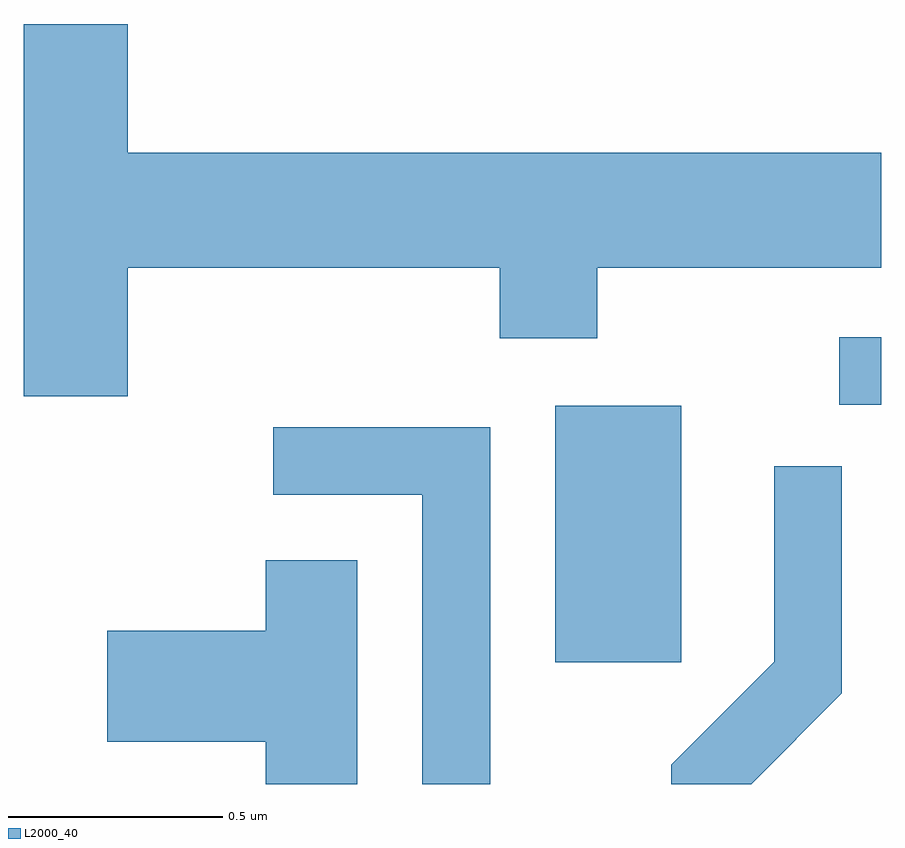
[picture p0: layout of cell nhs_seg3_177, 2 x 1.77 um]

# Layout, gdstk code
import gdstk
lib = gdstk.Library(unit=1e-6, precision=1e-09)
def R(c, l, rs):  # rectangles x0, y0, x1, y1
    for r in rs: c.add(gdstk.rectangle(r[:2], r[2:], *l))
def P(c, l, *ps):  # polygons
    for p in ps: c.add(gdstk.Polygon(p, *l))
L2000_40 = (2000, 40)

nhs_seg3_177 = lib.new_cell('nhs_seg3_177')
R(nhs_seg3_177, L2000_40, [(187.851,1156.176,188.144,1156.774), (188.513,1156.776,188.611,1156.934)])
P(nhs_seg3_177, L2000_40, [(186.854,1157.096),(187.721,1157.096),(187.721,1156.931),(187.949,1156.931),(187.949,1157.096),(188.611,1157.096),(188.611,1157.364),(186.854,1157.364),(186.854,1157.664),(186.611,1157.664),(186.611,1156.796),(186.854,1156.796)],
  [(187.699,1156.724),(187.193,1156.724),(187.193,1156.566),(187.541,1156.566),(187.541,1155.892),(187.699,1155.892)],
  [(188.519,1156.104),(188.519,1156.633),(188.361,1156.633),(188.361,1156.177),(188.121,1155.937),(188.121,1155.892),(188.307,1155.892)],
  [(187.389,1156.414),(187.176,1156.414),(187.176,1156.249),(186.806,1156.249),(186.806,1155.991),(187.176,1155.991),(187.176,1155.892),(187.389,1155.892)])

lib.write_gds('nhs_seg3_177.gds')
